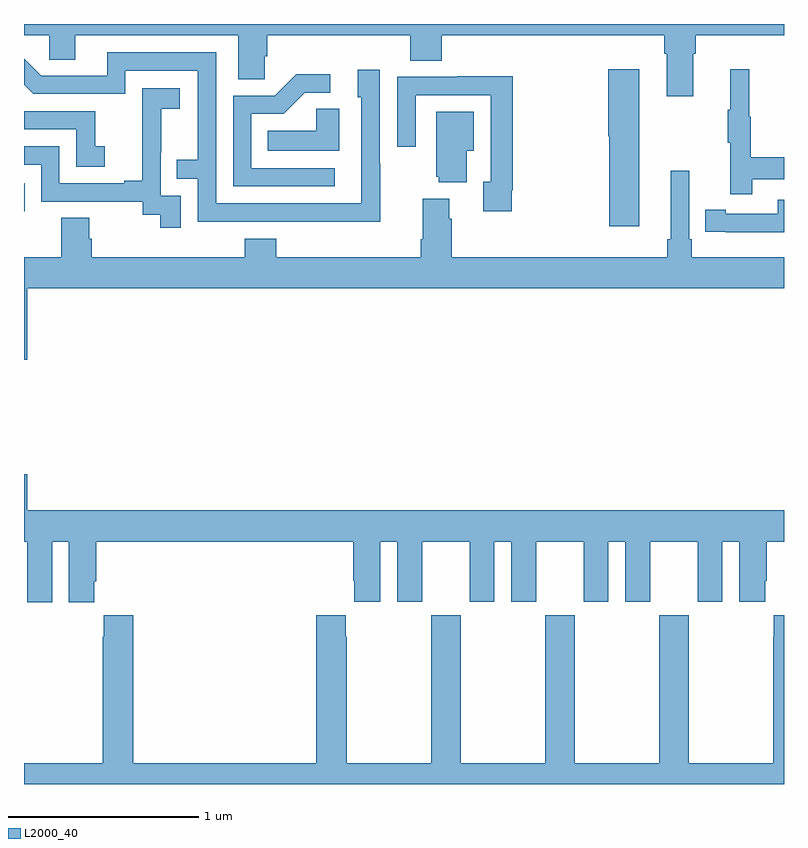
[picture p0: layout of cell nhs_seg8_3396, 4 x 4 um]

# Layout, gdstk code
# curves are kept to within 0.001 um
import gdstk
lib = gdstk.Library(unit=1e-6, precision=1e-09)
def R(c, l, rs):  # rectangles x0, y0, x1, y1
    for r in rs: c.add(gdstk.rectangle(r[:2], r[2:], *l))
def P(c, l, *ps):  # polygons
    for p in ps: c.add(gdstk.Polygon(p, *l))
L2000_40 = (2000, 40)

nhs_seg8_3396 = lib.new_cell('nhs_seg8_3396')
R(nhs_seg8_3396, L2000_40, [(321,1108.914,321.005,1109.061)])
P(nhs_seg8_3396, L2000_40, [(321,1109.84),(321.132,1109.84),(321.132,1109.713),(321.271,1109.713),(321.271,1109.84),(322.127,1109.84),(322.127,1109.608),(322.266,1109.608),(322.266,1109.731),(322.28,1109.731),(322.28,1109.84),(323.033,1109.84),(323.033,1109.707),(323.198,1109.707),(323.198,1109.84),(324.371,1109.84),(324.371,1109.744),(324.383,1109.744),(324.383,1109.52),(324.523,1109.52),(324.523,1109.744),(324.536,1109.744),(324.536,1109.84),(325,1109.84),(325,1109.9),(321,1109.9)],
  [(322.875,1109.165),(322.872,1109.165),(322.872,1109.659),(322.757,1109.659),(322.757,1109.514),(322.776,1109.514),(322.776,1108.956),(322.011,1108.956),(322.011,1109.751),(321.437,1109.751),(321.437,1109.628),(321.09,1109.628),(321,1109.718),(321,1109.58),(321.048,1109.532),(321.534,1109.532),(321.534,1109.655),(321.915,1109.655),(321.915,1109.186),(321.805,1109.186),(321.805,1109.085),(321.915,1109.085),(321.915,1108.86),(322.875,1108.859)],
  [(324.238,1109.662),(324.074,1109.662),(324.074,1109.31),(324.08,1109.31),(324.08,1108.836),(324.238,1108.836)],
  [(324.833,1109.082),(325,1109.082),(325,1109.198),(324.826,1109.198),(324.826,1109.412),(324.818,1109.412),(324.818,1109.662),(324.716,1109.662),(324.716,1109.449),(324.705,1109.449),(324.705,1109.275),(324.716,1109.275),(324.716,1109.004),(324.833,1109.004)],
  [(322.636,1109.142),(322.197,1109.142),(322.197,1109.427),(322.366,1109.427),(322.477,1109.538),(322.612,1109.538),(322.612,1109.636),(322.433,1109.636),(322.32,1109.523),(322.101,1109.523),(322.101,1109.046),(322.636,1109.046)],
  [(323.566,1109.026),(323.573,1109.026),(323.573,1109.624),(323.281,1109.624),(323.281,1109.622),(322.965,1109.622),(322.965,1109.253),(323.061,1109.253),(323.061,1109.526),(323.457,1109.526),(323.457,1109.07),(323.417,1109.07),(323.417,1108.914),(323.566,1108.914)],
  [(321.825,1108.995),(321.72,1108.995),(321.72,1109.225),(321.722,1109.225),(321.722,1109.453),(321.82,1109.453),(321.82,1109.563),(321.622,1109.563),(321.622,1109.357),(321.623,1109.357),(321.623,1109.074),(321.527,1109.074),(321.527,1109.061),(321.186,1109.061),(321.186,1109.256),(321,1109.256),(321,1109.16),(321.09,1109.16),(321.09,1108.965),(321.624,1108.965),(321.624,1108.897),(321.717,1108.897),(321.717,1108.827),(321.825,1108.827)],
  [(322.66,1109.453),(322.539,1109.453),(322.539,1109.338),(322.282,1109.338),(322.282,1109.234),(322.66,1109.234)],
  [(321.424,1109.257),(321.375,1109.257),(321.375,1109.442),(321,1109.442),(321,1109.346),(321.276,1109.346),(321.276,1109.148),(321.424,1109.148)],
  [(323.329,1109.234),(323.368,1109.234),(323.368,1109.437),(323.171,1109.437),(323.171,1109.097),(323.183,1109.097),(323.183,1109.066),(323.329,1109.066)],
  [(321.016,1108.508),(325,1108.508),(325,1108.672),(324.515,1108.672),(324.515,1108.768),(324.501,1108.768),(324.501,1109.128),(324.404,1109.128),(324.404,1108.768),(324.385,1108.768),(324.385,1108.672),(323.252,1108.672),(323.252,1108.874),(323.239,1108.874),(323.239,1108.981),(323.099,1108.981),(323.099,1108.768),(323.087,1108.768),(323.087,1108.672),(322.328,1108.672),(322.328,1108.771),(322.163,1108.771),(322.163,1108.672),(321.356,1108.672),(321.356,1108.77),(321.343,1108.77),(321.343,1108.88),(321.196,1108.88),(321.196,1108.672),(321,1108.672),(321,1108.134),(321.016,1108.134)],
  [(325,1108.974),(324.966,1108.974),(324.966,1108.902),(324.694,1108.902),(324.694,1108.922),(324.586,1108.922),(324.586,1108.806),(324.694,1108.806),(324.694,1108.805),(325,1108.805)],
  [(321.148,1107.176),(321.236,1107.176),(321.236,1106.856),(321.37,1106.856),(321.37,1106.968),(321.38,1106.968),(321.38,1107.176),(322.733,1107.176),(322.733,1106.971),(322.739,1106.971),(322.739,1106.859),(322.876,1106.859),(322.876,1107.176),(322.964,1107.176),(322.964,1106.859),(323.095,1106.859),(323.095,1107.176),(323.345,1107.176),(323.345,1106.859),(323.476,1106.859),(323.476,1107.176),(323.564,1107.176),(323.564,1106.859),(323.695,1106.859),(323.695,1107.176),(323.945,1107.176),(323.945,1106.859),(324.076,1106.859),(324.076,1107.176),(324.164,1107.176),(324.164,1106.859),(324.295,1106.859),(324.295,1107.176),(324.545,1107.176),(324.545,1106.859),(324.676,1106.859),(324.676,1107.176),(324.764,1107.176),(324.764,1106.859),(324.901,1106.859),(324.901,1106.971),(324.908,1106.971),(324.908,1107.176),(325,1107.176),(325,1107.34),(321.016,1107.34),(321.016,1107.529),(321,1107.529),(321,1107.176),(321.017,1107.176),(321.017,1106.968),(321.018,1106.968),(321.018,1106.856),(321.148,1106.856)],
  [(325,1106.788),(324.947,1106.788),(324.947,1106.675),(324.943,1106.675),(324.943,1106.008),(324.498,1106.008),(324.498,1106.788),(324.343,1106.788),(324.343,1106.008),(323.898,1106.008),(323.898,1106.788),(323.743,1106.788),(323.743,1106.008),(323.298,1106.008),(323.298,1106.788),(323.143,1106.788),(323.143,1106.008),(322.698,1106.008),(322.698,1106.675),(322.693,1106.675),(322.693,1106.788),(322.538,1106.788),(322.538,1106.008),(321.575,1106.008),(321.575,1106.788),(321.421,1106.788),(321.421,1106.675),(321.415,1106.675),(321.415,1106.008),(321,1106.008),(321,1105.9),(325,1105.9)])

lib.write_gds('nhs_seg8_3396.gds')
